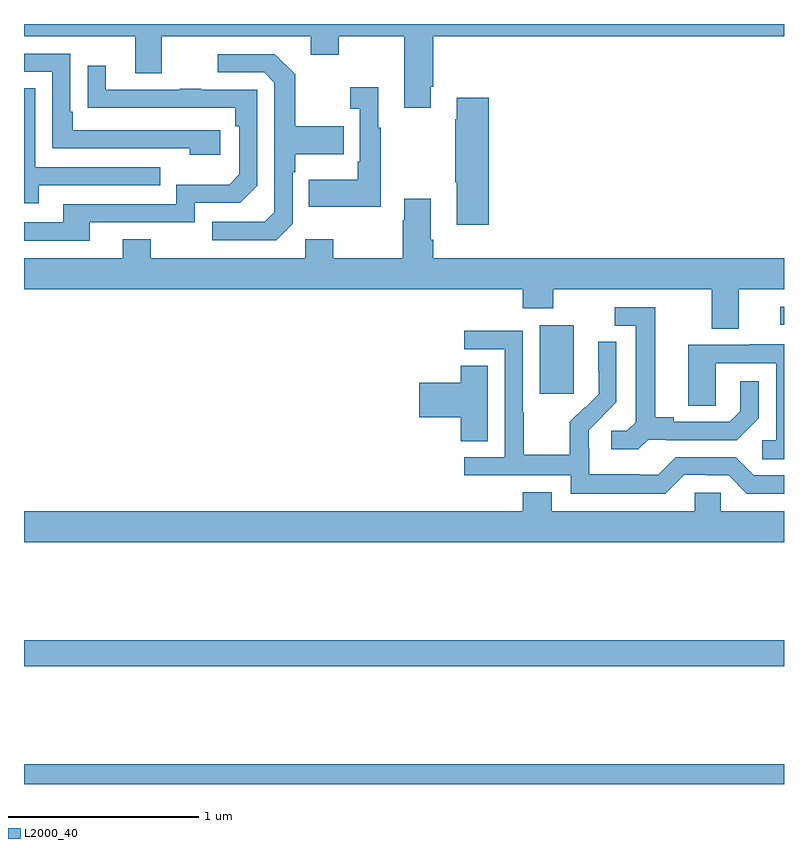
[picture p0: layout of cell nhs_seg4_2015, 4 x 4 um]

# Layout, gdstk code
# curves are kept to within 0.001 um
import gdstk
lib = gdstk.Library(unit=1e-6, precision=1e-09)
def R(c, l, rs):  # rectangles x0, y0, x1, y1
    for r in rs: c.add(gdstk.rectangle(r[:2], r[2:], *l))
def P(c, l, *ps):  # polygons
    for p in ps: c.add(gdstk.Polygon(p, *l))
L2000_40 = (2000, 40)

nhs_seg4_2015 = lib.new_cell('nhs_seg4_2015')
R(nhs_seg4_2015, L2000_40, [(215,776.9,219,777.004), (215,777.52,219,777.656), (217.715,778.953,217.894,779.314), (218.979,779.316,219,779.412)])
P(nhs_seg4_2015, L2000_40, [(217.141,780.571),(217.154,780.571),(217.154,780.836),(219,780.836),(219,780.9),(215,780.9),(215,780.836),(215.585,780.836),(215.585,780.642),(215.725,780.642),(215.725,780.836),(216.509,780.836),(216.509,780.737),(216.657,780.737),(216.657,780.836),(217.001,780.836),(217.001,780.459),(217.141,780.459)],
  [(216.034,780.342),(215.257,780.342),(215.257,780.439),(215.244,780.439),(215.244,780.744),(215,780.744),(215,780.648),(215.148,780.648),(215.148,780.246),(215.873,780.246),(215.873,780.212),(216.034,780.212)],
  [(216.414,779.85),(216.414,780.119),(216.427,780.119),(216.427,780.215),(216.683,780.215),(216.683,780.363),(216.427,780.363),(216.427,780.635),(216.321,780.741),(216.021,780.741),(216.021,780.645),(216.264,780.645),(216.318,780.591),(216.318,779.91),(216.267,779.859),(215.991,779.859),(215.991,779.763),(216.327,779.763)],
  [(215.347,779.856),(215.898,779.856),(215.898,779.958),(216.138,779.958),(216.228,780.048),(216.228,780.555),(215.933,780.555),(215.933,780.56),(215.821,780.56),(215.821,780.555),(215.431,780.555),(215.431,780.679),(215.335,780.679),(215.335,780.46),(216.112,780.459),(216.112,780.362),(216.132,780.362),(216.132,780.108),(216.079,780.055),(215.802,780.055),(215.802,779.952),(215.207,779.952),(215.207,779.856),(215,779.856),(215,779.76),(215.347,779.76)],
  [(216.877,780.355),(216.865,780.355),(216.865,780.568),(216.717,780.568),(216.717,780.455),(216.768,780.455),(216.768,780.175),(216.756,780.175),(216.756,780.079),(216.499,780.079),(216.499,779.939),(216.877,779.939)],
  [(215.077,780.051),(215.717,780.051),(215.717,780.147),(215.058,780.147),(215.058,780.563),(215,780.563),(215,779.957),(215.077,779.957)],
  [(217.445,780.511),(217.277,780.511),(217.277,780.398),(217.27,780.398),(217.27,780.067),(217.277,780.067),(217.277,779.844),(217.445,779.844)],
  [(218.761,779.504),(219,779.504),(219,779.668),(217.154,779.668),(217.154,779.764),(217.141,779.764),(217.141,779.98),(217.001,779.98),(217.001,779.867),(216.994,779.867),(216.994,779.668),(216.627,779.668),(216.627,779.767),(216.48,779.767),(216.48,779.668),(215.667,779.668),(215.667,779.767),(215.519,779.767),(215.519,779.668),(215,779.668),(215,779.504),(217.625,779.504),(217.625,779.405),(217.785,779.405),(217.785,779.504),(218.621,779.504),(218.621,779.296),(218.761,779.296)],
  [(218.286,778.713),(218.38,778.713),(218.38,778.71),(218.752,778.71),(218.868,778.826),(218.868,779.02),(218.771,779.02),(218.771,778.863),(218.714,778.806),(218.419,778.806),(218.419,778.829),(218.323,778.829),(218.323,779.409),(218.109,779.409),(218.109,779.313),(218.219,779.313),(218.219,778.805),(218.172,778.758),(218.091,778.758),(218.091,778.661),(218.234,778.661)],
  [(218.475,778.527),(218.591,778.527),(218.591,778.524),(218.709,778.524),(218.805,778.428),(219,778.428),(219,778.524),(218.841,778.524),(218.745,778.62),(218.43,778.62),(218.337,778.527),(218.237,778.527),(218.237,778.531),(217.974,778.531),(217.974,778.665),(217.972,778.665),(217.972,778.762),(218.118,778.91),(218.118,779.228),(218.022,779.228),(218.022,779.074),(218.024,779.074),(218.024,778.952),(217.953,778.881),(217.95,778.884),(217.873,778.807),(217.873,778.633),(217.629,778.633),(217.629,778.856),(217.626,778.856),(217.626,779.286),(217.317,779.286),(217.317,779.187),(217.53,779.187),(217.53,778.62),(217.317,778.62),(217.317,778.524),(217.878,778.524),(217.878,778.427),(218.375,778.427)],
  [(219,779.215),(218.819,779.215),(218.819,779.211),(218.495,779.211),(218.495,778.891),(218.64,778.891),(218.64,779.115),(218.958,779.115),(218.958,778.71),(218.886,778.71),(218.886,778.609),(219,778.609)],
  [(217.441,779.102),(217.298,779.102),(217.298,779.012),(217.08,779.012),(217.08,778.829),(217.298,778.829),(217.298,778.705),(217.441,778.705)],
  [(219,778.336),(218.667,778.336),(218.667,778.434),(218.529,778.434),(218.529,778.336),(217.777,778.336),(217.777,778.435),(217.625,778.435),(217.625,778.336),(215,778.336),(215,778.172),(219,778.172)])

lib.write_gds('nhs_seg4_2015.gds')
